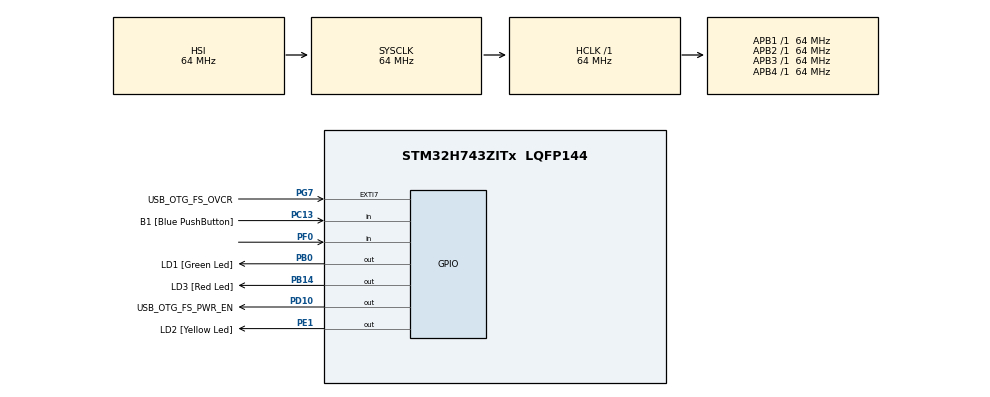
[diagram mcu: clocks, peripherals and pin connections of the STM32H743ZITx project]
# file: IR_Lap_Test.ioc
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Mcu.Family=STM32H7
Mcu.Name=STM32H743ZITx
Mcu.Package=LQFP144
NVIC.PriorityGroup=NVIC_PRIORITYGROUP_4
PA1.Signal=ETH_REF_CLK
PA11.Signal=USB_OTG_FS_DM
PA12.Signal=USB_OTG_FS_DP
PA13\ (JTMS/SWDIO).GPIO_Label=JTMS
PA13\ (JTMS/SWDIO).Signal=DEBUG_JTMS-SWDIO
PA14\ (JTCK/SWCLK).GPIO_Label=JTCK
PA14\ (JTCK/SWCLK).Signal=DEBUG_JTCK-SWCLK
PA2.Signal=ETH_MDIO
PA7.Signal=ETH_CRS_DV
PA8.Signal=USB_OTG_FS_SOF
PA9.Signal=USB_OTG_FS_VBUS
PB0.GPIO_Label=LD1 [Green Led]
PB0.Signal=GPIO_Output
PB13.Signal=ETH_TXD1
PB14.GPIO_Label=LD3 [Red Led]
PB14.Signal=GPIO_Output
PC1.Signal=ETH_MDC
PC13.GPIO_Label=B1 [Blue PushButton]
PC13.Signal=GPIO_Input
PC14-OSC32_IN\ (OSC32_IN).Signal=RCC_OSC32_IN
PC15-OSC32_OUT\ (OSC32_OUT).Signal=RCC_OSC32_OUT
PC4.Signal=ETH_RXD0
PC5.Signal=ETH_RXD1
PD10.GPIO_Label=USB_OTG_FS_PWR_EN
PD10.Signal=GPIO_Output
PD8.GPIO_Label=STLINK_RX
PD8.Signal=USART3_TX
PD9.GPIO_Label=STLINK_TX
PD9.Signal=USART3_RX
PE1.GPIO_Label=LD2 [Yellow Led]
PE1.Signal=GPIO_Output
PF0.Signal=GPIO_Input
PG11.Signal=ETH_TX_EN
PG13.Signal=ETH_TXD0
PG7.GPIO_Label=USB_OTG_FS_OVCR
PG7.Signal=GPXTI7
PH0-OSC_IN\ (PH0).Signal=RCC_OSC_IN
PH1-OSC_OUT\ (PH1).Signal=RCC_OSC_OUT
ProjectManager.HeapSize=0x200
ProjectManager.StackSize=0x400
ProjectManager.TargetToolchain=STM32CubeIDE
RCC.ADCFreq_Value=129000000
RCC.APB1Freq_Value=64000000
RCC.APB2Freq_Value=64000000
RCC.APB3Freq_Value=64000000
RCC.APB4Freq_Value=64000000
RCC.CortexFreq_Value=64000000
RCC.DIVM1=4
RCC.DIVN1=9
RCC.HCLKFreq_Value=64000000
RCC.PLLFRACN=3072
RCC.SYSCLKFreq_VALUE=64000000
RCC.USBFreq_Value=75000000
TIM2.Prescaler=64-1
VP_TIM2_VS_ClockSourceINT.Mode=Internal
board=NUCLEO-H743ZI2

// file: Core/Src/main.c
/* USER CODE BEGIN Header */
/**
  ******************************************************************************
  * @file           : main.c
  * @brief          : Main program body
  ******************************************************************************
  * @attention
  *
  * Copyright (c) 2023 STMicroelectronics.
  * All rights reserved.
  *
  * This software is licensed under terms that can be found in the LICENSE file
  * in the root directory of this software component.
  * If no LICENSE file comes with this software, it is provided AS-IS.
  *
  ******************************************************************************
  */
/* USER CODE END Header */
#include "main.h"

/* USER CODE BEGIN Includes */
#include <stdio.h>
#include <string.h>
#include <ctype.h>
/* USER CODE END Includes */

TIM_HandleTypeDef htim2;

void SystemClock_Config(void);
static void MX_GPIO_Init(void);
static void MX_TIM2_Init(void);
/* USER CODE BEGIN PFP */
void toLower(char userinput[]);
void Error_Handler(void);
/* USER CODE END PFP */

int main(void)
{
  /* USER CODE BEGIN 1 */
	int best_lap = 0;
	int currentLap = 1;
	long int time_elapsed[10];
	long int  best_time;
  /* USER CODE END 1 */

  /* MCU Configuration--------------------------------------------------------*/

  /* Reset of all peripherals, Initializes the Flash interface and the Systick. */
  HAL_Init();

  /* Configure the system clock */
  SystemClock_Config();

  /* Initialize all configured peripherals */
  MX_GPIO_Init();
  MX_TIM2_Init();

  /* Infinite loop */
  /* USER CODE BEGIN WHILE */
  while (1)
  {
	  for(int runCounter = 0; runCounter < 9; runCounter++){
		  //wait until car moves off of start line
		  while (HAL_GPIO_ReadPin(GPIOA, GPIO_PIN_10) == 0){
		  }
		  //save start time
		  long int time_start = __HAL_TIM_GET_COUNTER(&htim2);
		  //wait until car crosses finish line again.
		  while (HAL_GPIO_ReadPin(GPIOA, GPIO_PIN_10) == 0){
		  }
		  //save finish time
		  long int time_finished = __HAL_TIM_GET_COUNTER(&htim2);
		  //find time elapsed by subtracting start time - current time
		  time_elapsed[runCounter] = time_start - time_finished;
		  //save best time and best lap if time is faster
		  if(time_elapsed[runCounter] < best_time || best_time == 0){
			  best_time = time_elapsed[runCounter];
			  best_lap = currentLap;
		  }
		  int minutes = time_elapsed[runCounter]/60000;
		  int seconds = (time_elapsed[runCounter]%60000)/1000;
		  int milliseconds = time_elapsed[runCounter]%1000;
		  printf("Lap #%i time: %i minutes, %i seconds, %i milliseconds\n", currentLap, minutes, seconds, milliseconds);
		  char userinput[10];
		  userinput:
		  printf("Start again?(yes/no/end)\n");
		  scanf("%s", userinput);
		  toLower(userinput);
		  if(strcmp(userinput, "no") == 0){
			  userinput2:
			  printf("Would you like to do?\nSee best time?(best)\nSee last 10 runs?(last10)\nStart again?(yes)");
			  char userinput2[10];
			  scanf("%s", userinput2);
			  toLower(userinput2);
			  	  if(strcmp(userinput2, "best") == 0){
			  		  int best_minutes = best_time/60000;
			  		  int best_seconds = (best_time%60000)/1000;
			  		  int best_milliseconds = best_time%1000;
			  		  printf("Best Lap time: %i minutes, %i seconds, %i milliseconds\n", best_minutes, best_seconds, best_milliseconds);
			  	  } else if (strcmp(userinput2, "last10") == 0){
			  		  //current lap from 0-9
			  		  int lapCounterTemp = runCounter;
			  		  int last10counter = 0;
			  		  //prints the laps from current lap number to 0
			  		  while(lapCounterTemp >= 0){
			  			  int last10minutes = time_elapsed[lapCounterTemp]/60000;
			  			  int last10seconds = (time_elapsed[lapCounterTemp]%60000)/1000;
			  			  int last10milliseconds = time_elapsed[lapCounterTemp]%1000;
				  		  printf("Lap #%i: %i minutes, %i seconds, %i milliseconds", currentLap - last10counter, last10minutes, last10seconds, last10milliseconds);
			  			  lapCounterTemp--;
			  			  last10counter++;
			  		  }
			  		  //lapCounterTemp should now be -1, add 10 to that to make 9
			  		  lapCounterTemp += 10;
			  		  //prints the rest of the last 10 laps
			  		  while(lapCounterTemp > runCounter){
			  			  int last10minutes = time_elapsed[lapCounterTemp]/60000;
			  			  int last10seconds = (time_elapsed[lapCounterTemp]%60000)/1000;
			  			  int last10milliseconds = time_elapsed[lapCounterTemp]%1000;
			  			  printf("Lap #%i: %i minutes, %i seconds, %i milliseconds", currentLap - last10counter, last10minutes, last10seconds, last10milliseconds);
			  			  lapCounterTemp--;
			  			  last10counter++;
			  		  }
			  	  } else if (strcmp(userinput2, "yes") != 0){
			  		  printf("Error, input best, last10 or yes");
			  		  goto userinput2;
			  	  }

		  } else if (strcmp(userinput, "end") == 0){
			  return 0;
		  } else if (strcmp(userinput, "yes") != 0){
			  printf("Error, input yes or no");
			  goto userinput;
		  }
		  currentLap++;
		  }
	  }
    /* USER CODE END WHILE */

}

void SystemClock_Config(void)
{
  RCC_OscInitTypeDef RCC_OscInitStruct = {0};
  RCC_ClkInitTypeDef RCC_ClkInitStruct = {0};

  /** Supply configuration update enable
  */
  HAL_PWREx_ConfigSupply(PWR_LDO_SUPPLY);

  /** Configure the main internal regulator output voltage
  */
  __HAL_PWR_VOLTAGESCALING_CONFIG(PWR_REGULATOR_VOLTAGE_SCALE3);

  while(!__HAL_PWR_GET_FLAG(PWR_FLAG_VOSRDY)) {}

  /** Initializes the RCC Oscillators according to the specified parameters
  * in the RCC_OscInitTypeDef structure.
  */
  RCC_OscInitStruct.OscillatorType = RCC_OSCILLATORTYPE_HSI;
  RCC_OscInitStruct.HSIState = RCC_HSI_DIV1;
  RCC_OscInitStruct.HSICalibrationValue = RCC_HSICALIBRATION_DEFAULT;
  RCC_OscInitStruct.PLL.PLLState = RCC_PLL_NONE;
  if (HAL_RCC_OscConfig(&RCC_OscInitStruct) != HAL_OK)
  {
    Error_Handler();
  }

  /** Initializes the CPU, AHB and APB buses clocks
  */
  RCC_ClkInitStruct.ClockType = RCC_CLOCKTYPE_HCLK|RCC_CLOCKTYPE_SYSCLK
                              |RCC_CLOCKTYPE_PCLK1|RCC_CLOCKTYPE_PCLK2
                              |RCC_CLOCKTYPE_D3PCLK1|RCC_CLOCKTYPE_D1PCLK1;
  RCC_ClkInitStruct.SYSCLKSource = RCC_SYSCLKSOURCE_HSI;
  RCC_ClkInitStruct.SYSCLKDivider = RCC_SYSCLK_DIV1;
  RCC_ClkInitStruct.AHBCLKDivider = RCC_HCLK_DIV1;
  RCC_ClkInitStruct.APB3CLKDivider = RCC_APB3_DIV1;
  RCC_ClkInitStruct.APB1CLKDivider = RCC_APB1_DIV1;
  RCC_ClkInitStruct.APB2CLKDivider = RCC_APB2_DIV1;
  RCC_ClkInitStruct.APB4CLKDivider = RCC_APB4_DIV1;

  if (HAL_RCC_ClockConfig(&RCC_ClkInitStruct, FLASH_LATENCY_1) != HAL_OK)
  {
    Error_Handler();
  }
}

static void MX_TIM2_Init(void)
{

  TIM_ClockConfigTypeDef sClockSourceConfig = {0};
  TIM_MasterConfigTypeDef sMasterConfig = {0};

  htim2.Instance = TIM2;
  htim2.Init.Prescaler = 64-1;
  htim2.Init.CounterMode = TIM_COUNTERMODE_UP;
  htim2.Init.Period = 4294967295;
  htim2.Init.ClockDivision = TIM_CLOCKDIVISION_DIV1;
  htim2.Init.AutoReloadPreload = TIM_AUTORELOAD_PRELOAD_DISABLE;
  if (HAL_TIM_Base_Init(&htim2) != HAL_OK)
  {
    Error_Handler();
  }
  sClockSourceConfig.ClockSource = TIM_CLOCKSOURCE_INTERNAL;
  if (HAL_TIM_ConfigClockSource(&htim2, &sClockSourceConfig) != HAL_OK)
  {
    Error_Handler();
  }
  sMasterConfig.MasterOutputTrigger = TIM_TRGO_RESET;
  sMasterConfig.MasterSlaveMode = TIM_MASTERSLAVEMODE_DISABLE;
  if (HAL_TIMEx_MasterConfigSynchronization(&htim2, &sMasterConfig) != HAL_OK)
  {
    Error_Handler();
  }

}

static void MX_GPIO_Init(void)
{
  GPIO_InitTypeDef GPIO_InitStruct = {0};

  /* GPIO Ports Clock Enable */
  __HAL_RCC_GPIOC_CLK_ENABLE();
  __HAL_RCC_GPIOF_CLK_ENABLE();
  __HAL_RCC_GPIOH_CLK_ENABLE();
  __HAL_RCC_GPIOA_CLK_ENABLE();
  __HAL_RCC_GPIOB_CLK_ENABLE();
  __HAL_RCC_GPIOD_CLK_ENABLE();
  __HAL_RCC_GPIOG_CLK_ENABLE();
  __HAL_RCC_GPIOE_CLK_ENABLE();

  /*Configure GPIO pin Output Level */
  HAL_GPIO_WritePin(GPIOB, LD1_Pin|LD3_Pin, GPIO_PIN_RESET);

  /*Configure GPIO pin Output Level */
  HAL_GPIO_WritePin(USB_OTG_FS_PWR_EN_GPIO_Port, USB_OTG_FS_PWR_EN_Pin, GPIO_PIN_RESET);

  /*Configure GPIO pin Output Level */
  HAL_GPIO_WritePin(LD2_GPIO_Port, LD2_Pin, GPIO_PIN_RESET);

  /*Configure GPIO pin : B1_Pin */
  GPIO_InitStruct.Pin = B1_Pin;
  GPIO_InitStruct.Mode = GPIO_MODE_INPUT;
  GPIO_InitStruct.Pull = GPIO_NOPULL;
  HAL_GPIO_Init(B1_GPIO_Port, &GPIO_InitStruct);

  /*Configure GPIO pin : PF0 */
  GPIO_InitStruct.Pin = GPIO_PIN_0;
  GPIO_InitStruct.Mode = GPIO_MODE_INPUT;
  GPIO_InitStruct.Pull = GPIO_NOPULL;
  HAL_GPIO_Init(GPIOF, &GPIO_InitStruct);

  /*Configure GPIO pins : PC1 PC4 PC5 */
  GPIO_InitStruct.Pin = GPIO_PIN_1|GPIO_PIN_4|GPIO_PIN_5;
  GPIO_InitStruct.Mode = GPIO_MODE_AF_PP;
  GPIO_InitStruct.Pull = GPIO_NOPULL;
  GPIO_InitStruct.Speed = GPIO_SPEED_FREQ_LOW;
  GPIO_InitStruct.Alternate = GPIO_AF11_ETH;
  HAL_GPIO_Init(GPIOC, &GPIO_InitStruct);

  /*Configure GPIO pins : PA1 PA2 PA7 */
  GPIO_InitStruct.Pin = GPIO_PIN_1|GPIO_PIN_2|GPIO_PIN_7;
  GPIO_InitStruct.Mode = GPIO_MODE_AF_PP;
  GPIO_InitStruct.Pull = GPIO_NOPULL;
  GPIO_InitStruct.Speed = GPIO_SPEED_FREQ_LOW;
  GPIO_InitStruct.Alternate = GPIO_AF11_ETH;
  HAL_GPIO_Init(GPIOA, &GPIO_InitStruct);

  /*Configure GPIO pins : LD1_Pin LD3_Pin */
  GPIO_InitStruct.Pin = LD1_Pin|LD3_Pin;
  GPIO_InitStruct.Mode = GPIO_MODE_OUTPUT_PP;
  GPIO_InitStruct.Pull = GPIO_NOPULL;
  GPIO_InitStruct.Speed = GPIO_SPEED_FREQ_LOW;
  HAL_GPIO_Init(GPIOB, &GPIO_InitStruct);

  /*Configure GPIO pin : PB13 */
  GPIO_InitStruct.Pin = GPIO_PIN_13;
  GPIO_InitStruct.Mode = GPIO_MODE_AF_PP;
  GPIO_InitStruct.Pull = GPIO_NOPULL;
  GPIO_InitStruct.Speed = GPIO_SPEED_FREQ_LOW;
  GPIO_InitStruct.Alternate = GPIO_AF11_ETH;
  HAL_GPIO_Init(GPIOB, &GPIO_InitStruct);

  /*Configure GPIO pins : STLINK_RX_Pin STLINK_TX_Pin */
  GPIO_InitStruct.Pin = STLINK_RX_Pin|STLINK_TX_Pin;
  GPIO_InitStruct.Mode = GPIO_MODE_AF_PP;
  GPIO_InitStruct.Pull = GPIO_NOPULL;
  GPIO_InitStruct.Speed = GPIO_SPEED_FREQ_LOW;
  GPIO_InitStruct.Alternate = GPIO_AF7_USART3;
  HAL_GPIO_Init(GPIOD, &GPIO_InitStruct);

  /*Configure GPIO pin : USB_OTG_FS_PWR_EN_Pin */
  GPIO_InitStruct.Pin = USB_OTG_FS_PWR_EN_Pin;
  GPIO_InitStruct.Mode = GPIO_MODE_OUTPUT_PP;
  GPIO_InitStruct.Pull = GPIO_NOPULL;
  GPIO_InitStruct.Speed = GPIO_SPEED_FREQ_LOW;
  HAL_GPIO_Init(USB_OTG_FS_PWR_EN_GPIO_Port, &GPIO_InitStruct);

  /*Configure GPIO pin : USB_OTG_FS_OVCR_Pin */
  GPIO_InitStruct.Pin = USB_OTG_FS_OVCR_Pin;
  GPIO_InitStruct.Mode = GPIO_MODE_IT_RISING;
  GPIO_InitStruct.Pull = GPIO_NOPULL;
  HAL_GPIO_Init(USB_OTG_FS_OVCR_GPIO_Port, &GPIO_InitStruct);

  /*Configure GPIO pins : PA8 PA11 PA12 */
  GPIO_InitStruct.Pin = GPIO_PIN_8|GPIO_PIN_11|GPIO_PIN_12;
  GPIO_InitStruct.Mode = GPIO_MODE_AF_PP;
  GPIO_InitStruct.Pull = GPIO_NOPULL;
  GPIO_InitStruct.Speed = GPIO_SPEED_FREQ_LOW;
  GPIO_InitStruct.Alternate = GPIO_AF10_OTG1_FS;
  HAL_GPIO_Init(GPIOA, &GPIO_InitStruct);

  /*Configure GPIO pins : PG11 PG13 */
  GPIO_InitStruct.Pin = GPIO_PIN_11|GPIO_PIN_13;
  GPIO_InitStruct.Mode = GPIO_MODE_AF_PP;
  GPIO_InitStruct.Pull = GPIO_NOPULL;
  GPIO_InitStruct.Speed = GPIO_SPEED_FREQ_LOW;
  GPIO_InitStruct.Alternate = GPIO_AF11_ETH;
  HAL_GPIO_Init(GPIOG, &GPIO_InitStruct);

  /*Configure GPIO pin : LD2_Pin */
  GPIO_InitStruct.Pin = LD2_Pin;
  GPIO_InitStruct.Mode = GPIO_MODE_OUTPUT_PP;
  GPIO_InitStruct.Pull = GPIO_NOPULL;
  GPIO_InitStruct.Speed = GPIO_SPEED_FREQ_LOW;
  HAL_GPIO_Init(LD2_GPIO_Port, &GPIO_InitStruct);

}

/* USER CODE BEGIN 4 */
void toLower(char userinput[]) {
    for (int i = 0; i < strlen(userinput); i++) {
        userinput[i] = tolower(userinput[i]);
    }
}
/* USER CODE END 4 */

void Error_Handler(void)
{
  __disable_irq();
  while (1)
  {
  }
}
